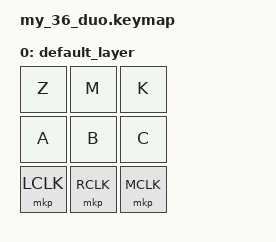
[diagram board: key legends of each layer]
#include <behaviors.dtsi>
#include <dt-bindings/zmk/keys.h>
#include <dt-bindings/zmk/pointing.h>

/ {
    keymap {
        compatible = "zmk,keymap";

        default_layer { // Layer 0
            // ---------------------------------------------
            // |     Z     |     M     |     K     |
            // |     A     |     B     |     C     |
            // |   LCLK    |   RCLK    |   MCLK    |
            bindings = <
                &kp Z        &kp M        &kp K
                &kp A        &kp B        &kp C
                &mkp LCLK    &mkp RCLK    &mkp MCLK
            >;
        };
    };
};
